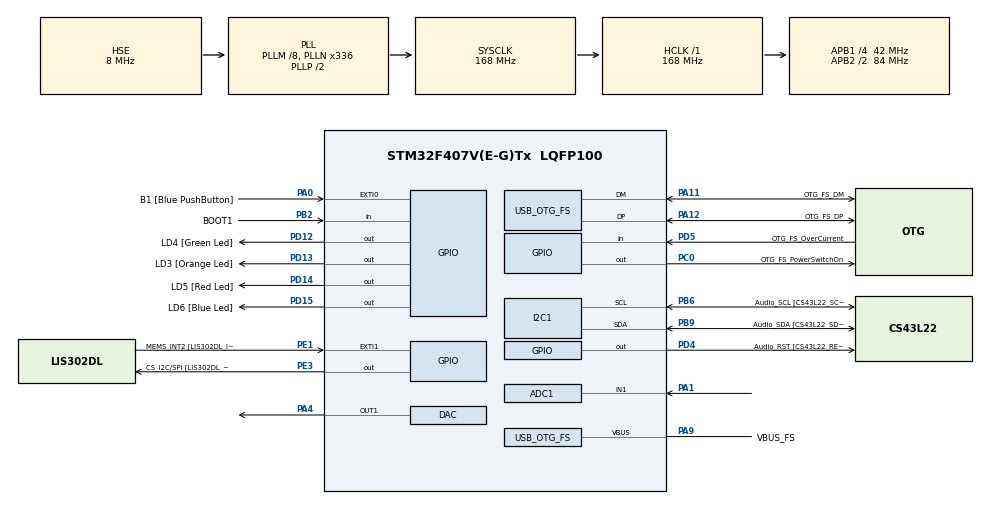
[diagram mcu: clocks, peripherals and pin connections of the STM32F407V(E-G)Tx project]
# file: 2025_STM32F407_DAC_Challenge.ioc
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ADC1.Channel-0\#ChannelRegularConversion=ADC_CHANNEL_1
ADC1.ContinuousConvMode=ENABLE
ADC1.NbrOfConversionFlag=1
ADC1.Rank-0\#ChannelRegularConversion=1
ADC1.SamplingTime-0\#ChannelRegularConversion=ADC_SAMPLETIME_480CYCLES
ADC1.master=1
DAC.DAC_Trigger=DAC_TRIGGER_T2_TRGO
Dma.DAC1.0.Direction=DMA_MEMORY_TO_PERIPH
Dma.DAC1.0.FIFOMode=DMA_FIFOMODE_DISABLE
Dma.DAC1.0.Instance=DMA1_Stream5
Dma.DAC1.0.MemDataAlignment=DMA_MDATAALIGN_WORD
Dma.DAC1.0.MemInc=DMA_MINC_ENABLE
Dma.DAC1.0.Mode=DMA_CIRCULAR
Dma.DAC1.0.PeriphDataAlignment=DMA_PDATAALIGN_WORD
Dma.DAC1.0.PeriphInc=DMA_PINC_DISABLE
Dma.DAC1.0.Priority=DMA_PRIORITY_LOW
Dma.Request0=DAC1
Mcu.Family=STM32F4
Mcu.Name=STM32F407V(E-G)Tx
Mcu.Package=LQFP100
NVIC.ADC_IRQn=true\:0\:0\:false\:false\:true\:true\:true\:true
NVIC.DMA1_Stream5_IRQn=true\:0\:0\:false\:false\:true\:false\:true\:true
NVIC.OTG_FS_IRQn=true\:0\:0\:false\:false\:true\:true\:true\:true
NVIC.PriorityGroup=NVIC_PRIORITYGROUP_0
NVIC.TIM2_IRQn=true\:0\:0\:false\:false\:true\:true\:true\:true
PA0-WKUP.GPIO_Label=B1 [Blue PushButton]
PA0-WKUP.GPIO_ModeDefaultEXTI=GPIO_MODE_EVT_RISING
PA0-WKUP.GPIO_PuPd=GPIO_NOPULL
PA0-WKUP.Signal=GPXTI0
PA1.Signal=ADCx_IN1
PA10.GPIO_Label=OTG_FS_ID
PA10.GPIO_Mode=GPIO_MODE_AF_PP
PA10.GPIO_PuPd=GPIO_NOPULL
PA10.GPIO_Speed=GPIO_SPEED_FREQ_LOW
PA10.Signal=USB_OTG_FS_ID
PA11.GPIO_Label=OTG_FS_DM
PA11.GPIO_Mode=GPIO_MODE_AF_PP
PA11.GPIO_PuPd=GPIO_NOPULL
PA11.GPIO_Speed=GPIO_SPEED_FREQ_LOW
PA11.Mode=Host_Only
PA11.Signal=USB_OTG_FS_DM
PA12.GPIO_Label=OTG_FS_DP
PA12.GPIO_Mode=GPIO_MODE_AF_PP
PA12.GPIO_PuPd=GPIO_NOPULL
PA12.GPIO_Speed=GPIO_SPEED_FREQ_LOW
PA12.Mode=Host_Only
PA12.Signal=USB_OTG_FS_DP
PA13.GPIO_Label=SWDIO
PA13.Mode=Serial_Wire
PA13.Signal=SYS_JTMS-SWDIO
PA14.GPIO_Label=SWCLK
PA14.Mode=Serial_Wire
PA14.Signal=SYS_JTCK-SWCLK
PA4.Signal=COMP_DAC1_group
PA9.GPIO_Label=VBUS_FS
PA9.GPIO_Mode=GPIO_MODE_INPUT
PA9.GPIO_PuPd=GPIO_NOPULL
PA9.Mode=Activate_VBUS
PA9.Signal=USB_OTG_FS_VBUS
PB10.GPIO_Label=CLK_IN [MP45DT02_CLK]
PB10.GPIO_Mode=GPIO_MODE_AF_PP
PB10.GPIO_PuPd=GPIO_NOPULL
PB10.GPIO_Speed=GPIO_SPEED_FREQ_LOW
PB10.Signal=I2S2_CK
PB2.GPIO_Label=BOOT1
PB2.GPIO_Mode=GPIO_MODE_INPUT
PB2.GPIO_PuPd=GPIO_NOPULL
PB2.Signal=GPIO_Input
PB3.GPIO_Label=SWO
PB3.Signal=SYS_JTDO-SWO
PB6.GPIO_Label=Audio_SCL [CS43L22_SCL]
PB6.GPIO_Mode=GPIO_MODE_AF_OD
PB6.GPIO_Pu=GPIO_PULLUP
PB6.GPIO_PuPd=GPIO_NOPULL
PB6.GPIO_Speed=GPIO_SPEED_FREQ_LOW
PB6.Mode=I2C
PB6.Signal=I2C1_SCL
PB9.GPIO_Label=Audio_SDA [CS43L22_SDA]
PB9.GPIO_Mode=GPIO_MODE_AF_OD
PB9.GPIO_Pu=GPIO_PULLUP
PB9.GPIO_PuPd=GPIO_NOPULL
PB9.GPIO_Speed=GPIO_SPEED_FREQ_LOW
PB9.Mode=I2C
PB9.Signal=I2C1_SDA
PC0.GPIO_Label=OTG_FS_PowerSwitchOn
PC0.GPIO_PuPd=GPIO_NOPULL
PC0.GPIO_Speed=GPIO_SPEED_FREQ_LOW
PC0.PinState=GPIO_PIN_SET
PC0.Signal=GPIO_Output
PC10.GPIO_Label=I2S3_SCK [CS43L22_SCLK]
PC10.GPIO_Mode=GPIO_MODE_AF_PP
PC10.GPIO_PuPd=GPIO_NOPULL
PC10.GPIO_Speed=GPIO_SPEED_FREQ_LOW
PC10.Signal=I2S3_CK
PC12.GPIO_Label=I2S3_SD [CS43L22_SDIN]
PC12.GPIO_Mode=GPIO_MODE_AF_PP
PC12.GPIO_PuPd=GPIO_NOPULL
PC12.GPIO_Speed=GPIO_SPEED_FREQ_LOW
PC12.Signal=I2S3_SD
PC14-OSC32_IN.GPIO_Label=PC14-OSC32_IN
PC14-OSC32_IN.Mode=LSE-External-Oscillator
PC14-OSC32_IN.Signal=RCC_OSC32_IN
PC15-OSC32_OUT.GPIO_Label=PC15-OSC32_OUT
PC15-OSC32_OUT.Mode=LSE-External-Oscillator
PC15-OSC32_OUT.Signal=RCC_OSC32_OUT
PC3.GPIO_Label=PDM_OUT [MP45DT02_DOUT]
PC3.GPIO_Mode=GPIO_MODE_AF_PP
PC3.GPIO_PuPd=GPIO_NOPULL
PC3.GPIO_Speed=GPIO_SPEED_FREQ_LOW
PC3.Signal=I2S2_SD
PC7.GPIO_Label=I2S3_MCK [CS43L22_MCLK]
PC7.GPIO_Mode=GPIO_MODE_AF_PP
PC7.GPIO_PuPd=GPIO_NOPULL
PC7.GPIO_Speed=GPIO_SPEED_FREQ_LOW
PC7.Signal=I2S3_MCK
PD12.GPIO_Label=LD4 [Green Led]
PD12.GPIO_PuPd=GPIO_NOPULL
PD12.GPIO_Speed=GPIO_SPEED_FREQ_LOW
PD12.Signal=GPIO_Output
PD13.GPIO_Label=LD3 [Orange Led]
PD13.GPIO_PuPd=GPIO_NOPULL
PD13.GPIO_Speed=GPIO_SPEED_FREQ_LOW
PD13.Signal=GPIO_Output
PD14.GPIO_Label=LD5 [Red Led]
PD14.GPIO_PuPd=GPIO_NOPULL
PD14.GPIO_Speed=GPIO_SPEED_FREQ_LOW
PD14.Signal=GPIO_Output
PD15.GPIO_Label=LD6 [Blue Led]
PD15.GPIO_PuPd=GPIO_NOPULL
PD15.GPIO_Speed=GPIO_SPEED_FREQ_LOW
PD15.Signal=GPIO_Output
PD4.GPIO_Label=Audio_RST [CS43L22_RESET]
PD4.GPIO_PuPd=GPIO_NOPULL
PD4.GPIO_Speed=GPIO_SPEED_FREQ_LOW
PD4.Signal=GPIO_Output
PD5.GPIO_Label=OTG_FS_OverCurrent
PD5.GPIO_Mode=GPIO_MODE_INPUT
PD5.GPIO_PuPd=GPIO_NOPULL
PD5.Signal=GPIO_Input
PE1.GPIO_Label=MEMS_INT2 [LIS302DL_INT2]
PE1.GPIO_ModeDefaultEXTI=GPIO_MODE_EVT_RISING
PE1.GPIO_PuPd=GPIO_NOPULL
PE1.Signal=GPXTI1
PE3.GPIO_Label=CS_I2C/SPI [LIS302DL_CS_I2C/SPI]
PE3.GPIO_PuPd=GPIO_NOPULL
PE3.GPIO_Speed=GPIO_SPEED_FREQ_LOW
PE3.Signal=GPIO_Output
PH0-OSC_IN.GPIO_Label=PH0-OSC_IN
PH0-OSC_IN.Mode=HSE-External-Oscillator
PH0-OSC_IN.Signal=RCC_OSC_IN
PH1-OSC_OUT.GPIO_Label=PH1-OSC_OUT
PH1-OSC_OUT.Mode=HSE-External-Oscillator
PH1-OSC_OUT.Signal=RCC_OSC_OUT
ProjectManager.HeapSize=0x200
ProjectManager.StackSize=0x400
ProjectManager.TargetToolchain=STM32CubeIDE
RCC.48MHZClocksFreq_Value=48000000
RCC.AHBFreq_Value=168000000
RCC.APB1CLKDivider=RCC_HCLK_DIV4
RCC.APB1Freq_Value=42000000
RCC.APB1TimFreq_Value=84000000
RCC.APB2CLKDivider=RCC_HCLK_DIV2
RCC.APB2Freq_Value=84000000
RCC.APB2TimFreq_Value=168000000
RCC.CortexFreq_Value=168000000
RCC.HCLKFreq_Value=168000000
RCC.HSE_VALUE=8000000
RCC.HSI_VALUE=16000000
RCC.PLLM=8
RCC.PLLN=336
RCC.PLLQ=7
RCC.SYSCLKFreq_VALUE=168000000
RCC.SYSCLKSource=RCC_SYSCLKSOURCE_PLLCLK
RCC.VCOOutputFreq_Value=336000000
SH.ADCx_IN1.0=ADC1_IN1,IN1
SH.COMP_DAC1_group.0=DAC_OUT1,DAC_OUT1
TIM2.Period=99
TIM2.Prescaler=86-1
TIM2.TIM_MasterOutputTrigger=TIM_TRGO_UPDATE
USB_HOST.BSP.number=1
USB_HOST.USBH_HandleTypeDef-CDC_FS=hUsbHostFS
USB_HOST.VirtualModeFS=Cdc
USB_HOST0.BSP.STBoard=false
USB_HOST0.BSP.api=Unknown
USB_HOST0.BSP.instance=PC0
USB_HOST0.BSP.ip=GPIO
USB_HOST0.BSP.mode=Output
USB_HOST0.BSP.name=Drive_VBUS_FS
USB_HOST0.BSP.solution=PC0
USB_OTG_FS.VirtualMode=Host_Only
USB_OTG_FS.phy_itface=HCD_PHY_EMBEDDED
VP_TIM2_VS_ClockSourceINT.Mode=Internal
VP_USB_HOST_VS_USB_HOST_CDC_FS.Mode=CDC_FS
board=STM32F407G-DISC1

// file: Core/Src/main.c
/* USER CODE BEGIN Header */
/**
  ******************************************************************************
  * @file           : main.c
  * @brief          : Main program body
  ******************************************************************************
  * @attention
  *
  * Copyright (c) 2025 STMicroelectronics.
  * All rights reserved.
  *
  * This software is licensed under terms that can be found in the LICENSE file
  * in the root directory of this software component.
  * If no LICENSE file comes with this software, it is provided AS-IS.
  *
  ******************************************************************************
  */
/* USER CODE END Header */
#include "main.h"
#include "usb_host.h"

/* USER CODE BEGIN Includes */
#include "math.h"
/* USER CODE END Includes */

ADC_HandleTypeDef hadc1;

DAC_HandleTypeDef hdac;
DMA_HandleTypeDef hdma_dac1;

I2C_HandleTypeDef hi2c1;

TIM_HandleTypeDef htim2;

/* USER CODE BEGIN PV */

uint16_t gADC_Value = 0;
#define PI 3.1415926
#define NUM_POINTS 100
uint32_t gSine_Values[NUM_POINTS]; //sine wave points
uint16_t gPercent = 0;

/* USER CODE END PV */

void SystemClock_Config(void);
static void MX_GPIO_Init(void);
static void MX_DMA_Init(void);
static void MX_I2C1_Init(void);
static void MX_DAC_Init(void);
static void MX_TIM2_Init(void);
static void MX_ADC1_Init(void);
void MX_USB_HOST_Process(void);

/* USER CODE BEGIN 0 */

void get_SineVal(){
	for(int i=0; i<NUM_POINTS; i++){
		gSine_Values[i] = ((sin(i*2*PI/NUM_POINTS)+1)*(4096/2));
	}
}
long map(long x, long in_min, long in_max, long out_min, long out_max){
	return (x-in_min)*(out_max-out_min+1) / (in_max -in_min +1) +out_min;
}
/* USER CODE END 0 */

int main(void)
{

  /* MCU Configuration--------------------------------------------------------*/

  /* Reset of all peripherals, Initializes the Flash interface and the Systick. */
  HAL_Init();

  /* Configure the system clock */
  SystemClock_Config();

  /* Initialize all configured peripherals */
  MX_GPIO_Init();
  MX_DMA_Init();
  MX_I2C1_Init();
  MX_USB_HOST_Init();
  MX_DAC_Init();
  MX_TIM2_Init();
  MX_ADC1_Init();
  /* USER CODE BEGIN 2 */
  HAL_ADC_Start_IT(&hadc1);
  HAL_TIM_Base_Start(&htim2);

  get_SineVal();

  HAL_DAC_Start_DMA(&hdac, DAC_CHANNEL_1, gSine_Values, NUM_POINTS, DAC_ALIGN_12B_R);

  /* USER CODE END 2 */

  /* Infinite loop */
  /* USER CODE BEGIN WHILE */
  while (1)
  {
	  HAL_TIM_Base_Stop(&htim2);
	  __HAL_TIM_SET_AUTORELOAD(&htim2, gPercent);
	  __HAL_TIM_SET_COUNTER(&htim2, 0);
	  TIM2->EGR = TIM_EGR_UG;
	  HAL_TIM_Base_Start(&htim2);
	  HAL_Delay(50);

    /* USER CODE END WHILE */
    MX_USB_HOST_Process();

  }
}

void SystemClock_Config(void)
{
  RCC_OscInitTypeDef RCC_OscInitStruct = {0};
  RCC_ClkInitTypeDef RCC_ClkInitStruct = {0};

  /** Configure the main internal regulator output voltage
  */
  __HAL_RCC_PWR_CLK_ENABLE();
  __HAL_PWR_VOLTAGESCALING_CONFIG(PWR_REGULATOR_VOLTAGE_SCALE1);

  /** Initializes the RCC Oscillators according to the specified parameters
  * in the RCC_OscInitTypeDef structure.
  */
  RCC_OscInitStruct.OscillatorType = RCC_OSCILLATORTYPE_HSE;
  RCC_OscInitStruct.HSEState = RCC_HSE_ON;
  RCC_OscInitStruct.PLL.PLLState = RCC_PLL_ON;
  RCC_OscInitStruct.PLL.PLLSource = RCC_PLLSOURCE_HSE;
  RCC_OscInitStruct.PLL.PLLM = 8;
  RCC_OscInitStruct.PLL.PLLN = 336;
  RCC_OscInitStruct.PLL.PLLP = RCC_PLLP_DIV2;
  RCC_OscInitStruct.PLL.PLLQ = 7;
  if (HAL_RCC_OscConfig(&RCC_OscInitStruct) != HAL_OK)
  {
    Error_Handler();
  }

  /** Initializes the CPU, AHB and APB buses clocks
  */
  RCC_ClkInitStruct.ClockType = RCC_CLOCKTYPE_HCLK|RCC_CLOCKTYPE_SYSCLK
                              |RCC_CLOCKTYPE_PCLK1|RCC_CLOCKTYPE_PCLK2;
  RCC_ClkInitStruct.SYSCLKSource = RCC_SYSCLKSOURCE_PLLCLK;
  RCC_ClkInitStruct.AHBCLKDivider = RCC_SYSCLK_DIV1;
  RCC_ClkInitStruct.APB1CLKDivider = RCC_HCLK_DIV4;
  RCC_ClkInitStruct.APB2CLKDivider = RCC_HCLK_DIV2;

  if (HAL_RCC_ClockConfig(&RCC_ClkInitStruct, FLASH_LATENCY_5) != HAL_OK)
  {
    Error_Handler();
  }
}

static void MX_ADC1_Init(void)
{

  ADC_ChannelConfTypeDef sConfig = {0};

  /** Configure the global features of the ADC (Clock, Resolution, Data Alignment and number of conversion)
  */
  hadc1.Instance = ADC1;
  hadc1.Init.ClockPrescaler = ADC_CLOCK_SYNC_PCLK_DIV4;
  hadc1.Init.Resolution = ADC_RESOLUTION_12B;
  hadc1.Init.ScanConvMode = DISABLE;
  hadc1.Init.ContinuousConvMode = ENABLE;
  hadc1.Init.DiscontinuousConvMode = DISABLE;
  hadc1.Init.ExternalTrigConvEdge = ADC_EXTERNALTRIGCONVEDGE_NONE;
  hadc1.Init.ExternalTrigConv = ADC_SOFTWARE_START;
  hadc1.Init.DataAlign = ADC_DATAALIGN_RIGHT;
  hadc1.Init.NbrOfConversion = 1;
  hadc1.Init.DMAContinuousRequests = DISABLE;
  hadc1.Init.EOCSelection = ADC_EOC_SINGLE_CONV;
  if (HAL_ADC_Init(&hadc1) != HAL_OK)
  {
    Error_Handler();
  }

  /** Configure for the selected ADC regular channel its corresponding rank in the sequencer and its sample time.
  */
  sConfig.Channel = ADC_CHANNEL_1;
  sConfig.Rank = 1;
  sConfig.SamplingTime = ADC_SAMPLETIME_480CYCLES;
  if (HAL_ADC_ConfigChannel(&hadc1, &sConfig) != HAL_OK)
  {
    Error_Handler();
  }

}

static void MX_DAC_Init(void)
{

  DAC_ChannelConfTypeDef sConfig = {0};

  /** DAC Initialization
  */
  hdac.Instance = DAC;
  if (HAL_DAC_Init(&hdac) != HAL_OK)
  {
    Error_Handler();
  }

  /** DAC channel OUT1 config
  */
  sConfig.DAC_Trigger = DAC_TRIGGER_T2_TRGO;
  sConfig.DAC_OutputBuffer = DAC_OUTPUTBUFFER_ENABLE;
  if (HAL_DAC_ConfigChannel(&hdac, &sConfig, DAC_CHANNEL_1) != HAL_OK)
  {
    Error_Handler();
  }

}

static void MX_I2C1_Init(void)
{

  hi2c1.Instance = I2C1;
  hi2c1.Init.ClockSpeed = 100000;
  hi2c1.Init.DutyCycle = I2C_DUTYCYCLE_2;
  hi2c1.Init.OwnAddress1 = 0;
  hi2c1.Init.AddressingMode = I2C_ADDRESSINGMODE_7BIT;
  hi2c1.Init.DualAddressMode = I2C_DUALADDRESS_DISABLE;
  hi2c1.Init.OwnAddress2 = 0;
  hi2c1.Init.GeneralCallMode = I2C_GENERALCALL_DISABLE;
  hi2c1.Init.NoStretchMode = I2C_NOSTRETCH_DISABLE;
  if (HAL_I2C_Init(&hi2c1) != HAL_OK)
  {
    Error_Handler();
  }

}

static void MX_TIM2_Init(void)
{

  TIM_ClockConfigTypeDef sClockSourceConfig = {0};
  TIM_MasterConfigTypeDef sMasterConfig = {0};

  htim2.Instance = TIM2;
  htim2.Init.Prescaler = 86-1;
  htim2.Init.CounterMode = TIM_COUNTERMODE_UP;
  htim2.Init.Period = 99;
  htim2.Init.ClockDivision = TIM_CLOCKDIVISION_DIV1;
  htim2.Init.AutoReloadPreload = TIM_AUTORELOAD_PRELOAD_DISABLE;
  if (HAL_TIM_Base_Init(&htim2) != HAL_OK)
  {
    Error_Handler();
  }
  sClockSourceConfig.ClockSource = TIM_CLOCKSOURCE_INTERNAL;
  if (HAL_TIM_ConfigClockSource(&htim2, &sClockSourceConfig) != HAL_OK)
  {
    Error_Handler();
  }
  sMasterConfig.MasterOutputTrigger = TIM_TRGO_UPDATE;
  sMasterConfig.MasterSlaveMode = TIM_MASTERSLAVEMODE_DISABLE;
  if (HAL_TIMEx_MasterConfigSynchronization(&htim2, &sMasterConfig) != HAL_OK)
  {
    Error_Handler();
  }

}

static void MX_DMA_Init(void)
{

  /* DMA controller clock enable */
  __HAL_RCC_DMA1_CLK_ENABLE();

  /* DMA interrupt init */
  /* DMA1_Stream5_IRQn interrupt configuration */
  HAL_NVIC_SetPriority(DMA1_Stream5_IRQn, 0, 0);
  HAL_NVIC_EnableIRQ(DMA1_Stream5_IRQn);

}

static void MX_GPIO_Init(void)
{
  GPIO_InitTypeDef GPIO_InitStruct = {0};

  /* GPIO Ports Clock Enable */
  __HAL_RCC_GPIOE_CLK_ENABLE();
  __HAL_RCC_GPIOC_CLK_ENABLE();
  __HAL_RCC_GPIOH_CLK_ENABLE();
  __HAL_RCC_GPIOA_CLK_ENABLE();
  __HAL_RCC_GPIOB_CLK_ENABLE();
  __HAL_RCC_GPIOD_CLK_ENABLE();

  /*Configure GPIO pin Output Level */
  HAL_GPIO_WritePin(CS_I2C_SPI_GPIO_Port, CS_I2C_SPI_Pin, GPIO_PIN_RESET);

  /*Configure GPIO pin Output Level */
  HAL_GPIO_WritePin(OTG_FS_PowerSwitchOn_GPIO_Port, OTG_FS_PowerSwitchOn_Pin, GPIO_PIN_SET);

  /*Configure GPIO pin Output Level */
  HAL_GPIO_WritePin(GPIOD, LD4_Pin|LD3_Pin|LD5_Pin|LD6_Pin
                          |Audio_RST_Pin, GPIO_PIN_RESET);

  /*Configure GPIO pin : CS_I2C_SPI_Pin */
  GPIO_InitStruct.Pin = CS_I2C_SPI_Pin;
  GPIO_InitStruct.Mode = GPIO_MODE_OUTPUT_PP;
  GPIO_InitStruct.Pull = GPIO_NOPULL;
  GPIO_InitStruct.Speed = GPIO_SPEED_FREQ_LOW;
  HAL_GPIO_Init(CS_I2C_SPI_GPIO_Port, &GPIO_InitStruct);

  /*Configure GPIO pin : OTG_FS_PowerSwitchOn_Pin */
  GPIO_InitStruct.Pin = OTG_FS_PowerSwitchOn_Pin;
  GPIO_InitStruct.Mode = GPIO_MODE_OUTPUT_PP;
  GPIO_InitStruct.Pull = GPIO_NOPULL;
  GPIO_InitStruct.Speed = GPIO_SPEED_FREQ_LOW;
  HAL_GPIO_Init(OTG_FS_PowerSwitchOn_GPIO_Port, &GPIO_InitStruct);

  /*Configure GPIO pin : PDM_OUT_Pin */
  GPIO_InitStruct.Pin = PDM_OUT_Pin;
  GPIO_InitStruct.Mode = GPIO_MODE_AF_PP;
  GPIO_InitStruct.Pull = GPIO_NOPULL;
  GPIO_InitStruct.Speed = GPIO_SPEED_FREQ_LOW;
  GPIO_InitStruct.Alternate = GPIO_AF5_SPI2;
  HAL_GPIO_Init(PDM_OUT_GPIO_Port, &GPIO_InitStruct);

  /*Configure GPIO pin : B1_Pin */
  GPIO_InitStruct.Pin = B1_Pin;
  GPIO_InitStruct.Mode = GPIO_MODE_EVT_RISING;
  GPIO_InitStruct.Pull = GPIO_NOPULL;
  HAL_GPIO_Init(B1_GPIO_Port, &GPIO_InitStruct);

  /*Configure GPIO pin : BOOT1_Pin */
  GPIO_InitStruct.Pin = BOOT1_Pin;
  GPIO_InitStruct.Mode = GPIO_MODE_INPUT;
  GPIO_InitStruct.Pull = GPIO_NOPULL;
  HAL_GPIO_Init(BOOT1_GPIO_Port, &GPIO_InitStruct);

  /*Configure GPIO pin : CLK_IN_Pin */
  GPIO_InitStruct.Pin = CLK_IN_Pin;
  GPIO_InitStruct.Mode = GPIO_MODE_AF_PP;
  GPIO_InitStruct.Pull = GPIO_NOPULL;
  GPIO_InitStruct.Speed = GPIO_SPEED_FREQ_LOW;
  GPIO_InitStruct.Alternate = GPIO_AF5_SPI2;
  HAL_GPIO_Init(CLK_IN_GPIO_Port, &GPIO_InitStruct);

  /*Configure GPIO pins : LD4_Pin LD3_Pin LD5_Pin LD6_Pin
                           Audio_RST_Pin */
  GPIO_InitStruct.Pin = LD4_Pin|LD3_Pin|LD5_Pin|LD6_Pin
                          |Audio_RST_Pin;
  GPIO_InitStruct.Mode = GPIO_MODE_OUTPUT_PP;
  GPIO_InitStruct.Pull = GPIO_NOPULL;
  GPIO_InitStruct.Speed = GPIO_SPEED_FREQ_LOW;
  HAL_GPIO_Init(GPIOD, &GPIO_InitStruct);

  /*Configure GPIO pins : I2S3_MCK_Pin I2S3_SCK_Pin I2S3_SD_Pin */
  GPIO_InitStruct.Pin = I2S3_MCK_Pin|I2S3_SCK_Pin|I2S3_SD_Pin;
  GPIO_InitStruct.Mode = GPIO_MODE_AF_PP;
  GPIO_InitStruct.Pull = GPIO_NOPULL;
  GPIO_InitStruct.Speed = GPIO_SPEED_FREQ_LOW;
  GPIO_InitStruct.Alternate = GPIO_AF6_SPI3;
  HAL_GPIO_Init(GPIOC, &GPIO_InitStruct);

  /*Configure GPIO pin : OTG_FS_OverCurrent_Pin */
  GPIO_InitStruct.Pin = OTG_FS_OverCurrent_Pin;
  GPIO_InitStruct.Mode = GPIO_MODE_INPUT;
  GPIO_InitStruct.Pull = GPIO_NOPULL;
  HAL_GPIO_Init(OTG_FS_OverCurrent_GPIO_Port, &GPIO_InitStruct);

  /*Configure GPIO pin : MEMS_INT2_Pin */
  GPIO_InitStruct.Pin = MEMS_INT2_Pin;
  GPIO_InitStruct.Mode = GPIO_MODE_EVT_RISING;
  GPIO_InitStruct.Pull = GPIO_NOPULL;
  HAL_GPIO_Init(MEMS_INT2_GPIO_Port, &GPIO_InitStruct);

}

/* USER CODE BEGIN 4 */

void HAL_ADC_ConvCpltCallback(ADC_HandleTypeDef *hadc){
	gADC_Value = HAL_ADC_GetValue(hadc);
	gPercent =map(gADC_Value, 0, 4096, 0, 100);
}

/* USER CODE END 4 */

void Error_Handler(void)
{
  __disable_irq();
  while (1)
  {
  }
}
